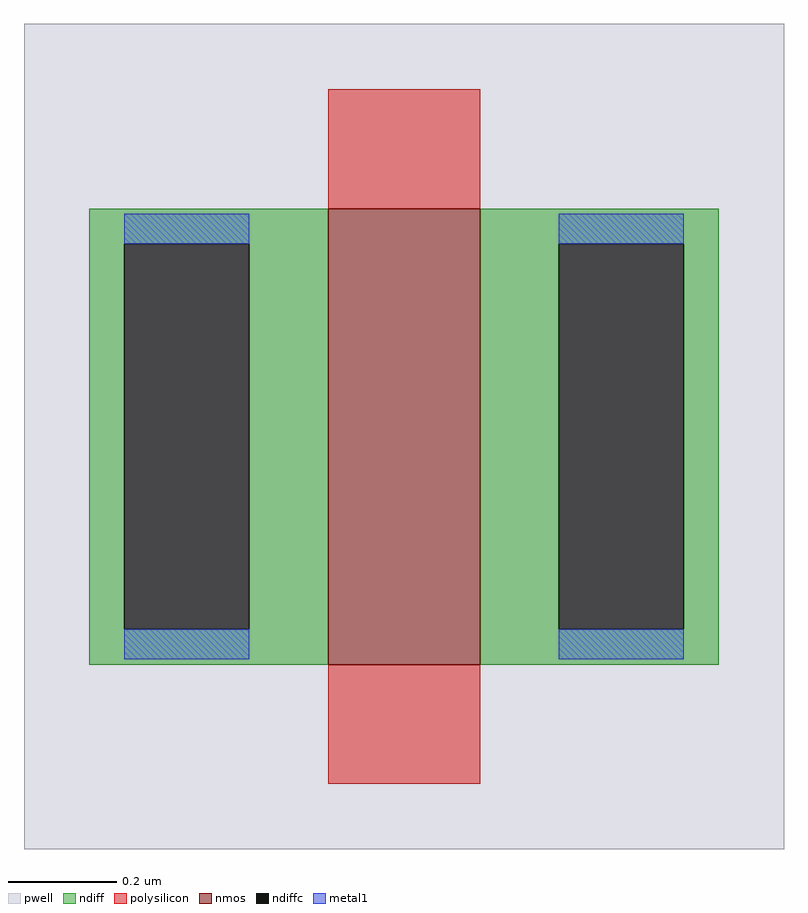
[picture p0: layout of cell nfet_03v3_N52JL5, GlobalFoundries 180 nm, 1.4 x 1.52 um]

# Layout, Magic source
magic
tech gf180mcuD
magscale 1 10
<< pwell >>
rect -140 -152 140 152
<< nmos >>
rect -28 -84 28 84
<< ndiff >>
rect -116 71 -28 84
rect -116 -71 -103 71
rect -57 -71 -28 71
rect -116 -84 -28 -71
rect 28 71 116 84
rect 28 -71 57 71
rect 103 -71 116 71
rect 28 -84 116 -71
<< ndiffc >>
rect -103 -71 -57 71
rect 57 -71 103 71
<< polysilicon >>
rect -28 84 28 128
rect -28 -128 28 -84
<< metal1 >>
rect -103 71 -57 82
rect -103 -82 -57 -71
rect 57 71 103 82
rect 57 -82 103 -71
<< properties >>
string gencell nfet_03v3
string library gf180mcu
string parameters w 0.84 l 0.280 m 1 nf 1 diffcov 100 polycov 100 guard 0 glc 0 grc 0 gtc 0 gbc 0 tbcov 100 rlcov 100 topc 0 botc 0 poverlap 0 doverlap 1 lmin 0.28 wmin 0.22 class mosfet full_metal 0 compatible {nfet_03v3 nfet_06v0 nfet_06v0_nvt}
<< end >>
